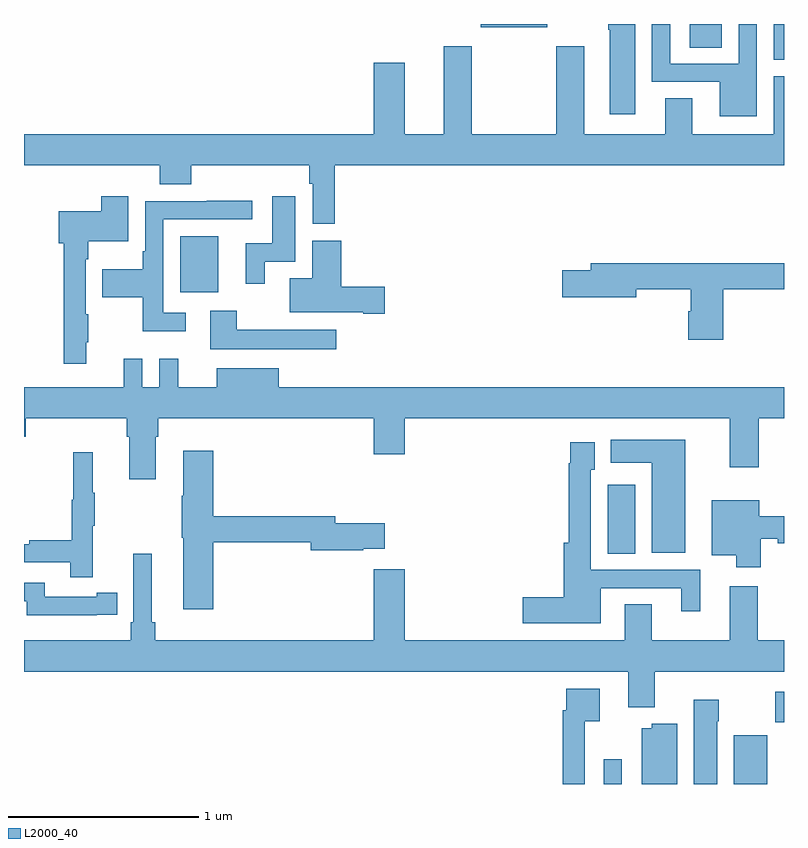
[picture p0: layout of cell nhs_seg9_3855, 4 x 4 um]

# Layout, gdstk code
import gdstk
lib = gdstk.Library(unit=1e-6, precision=1e-09)
def R(c, l, rs):  # rectangles x0, y0, x1, y1
    for r in rs: c.add(gdstk.rectangle(r[:2], r[2:], *l))
def P(c, l, *ps):  # polygons
    for p in ps: c.add(gdstk.Polygon(p, *l))
L2000_40 = (2000, 40)

nhs_seg9_3855 = lib.new_cell('nhs_seg9_3855')
R(nhs_seg9_3855, L2000_40, [(334.05,1190.5,334.146,1190.629), (334.955,1190.826,335,1190.986), (334.073,1191.712,334.216,1192.075), (331.823,1193.087,332.023,1193.383), (334.946,1194.311,335,1194.5), (334.505,1194.376,334.672,1194.5), (333.404,1194.482,333.754,1194.5)])
P(nhs_seg9_3855, L2000_40, [(334.857,1194.5),(334.761,1194.5),(334.761,1194.291),(334.401,1194.291),(334.401,1194.5),(334.305,1194.5),(334.305,1194.195),(334.661,1194.195),(334.661,1194.014),(334.857,1194.014)],
  [(334.216,1194.5),(334.075,1194.5),(334.075,1194.469),(334.082,1194.469),(334.082,1194.024),(334.216,1194.024)],
  [(332.636,1193.756),(335,1193.756),(335,1194.226),(334.946,1194.226),(334.946,1193.92),(334.516,1193.92),(334.516,1194.11),(334.376,1194.11),(334.376,1193.92),(333.949,1193.92),(333.949,1194.382),(333.802,1194.382),(333.802,1193.92),(333.357,1193.92),(333.357,1194.382),(333.209,1194.382),(333.209,1193.92),(333.004,1193.92),(333.004,1194.295),(332.84,1194.295),(332.84,1193.92),(331,1193.92),(331,1193.756),(331.715,1193.756),(331.715,1193.657),(331.88,1193.657),(331.88,1193.756),(332.5,1193.756),(332.5,1193.66),(332.52,1193.66),(332.52,1193.448),(332.636,1193.448)],
  [(332.266,1193.25),(332.428,1193.25),(332.428,1193.593),(332.306,1193.593),(332.306,1193.346),(332.168,1193.346),(332.168,1193.133),(332.266,1193.133)],
  [(331.328,1192.825),(331.339,1192.825),(331.339,1192.973),(331.326,1192.973),(331.326,1193.261),(331.339,1193.261),(331.339,1193.357),(331.549,1193.357),(331.549,1193.593),(331.406,1193.593),(331.406,1193.515),(331.184,1193.515),(331.184,1193.345),(331.21,1193.345),(331.21,1192.713),(331.328,1192.713)],
  [(331.852,1192.98),(331.734,1192.98),(331.734,1193.472),(332.2,1193.472),(332.2,1193.57),(331.963,1193.57),(331.963,1193.568),(331.638,1193.568),(331.638,1193.305),(331.626,1193.305),(331.626,1193.209),(331.411,1193.209),(331.411,1193.062),(331.626,1193.062),(331.626,1192.883),(331.852,1192.883)],
  [(332.899,1193.117),(332.669,1193.117),(332.669,1193.359),(332.516,1193.359),(332.516,1193.161),(332.399,1193.161),(332.399,1192.982),(332.786,1192.982),(332.786,1192.975),(332.899,1192.975)],
  [(334.679,1193.104),(335,1193.104),(335,1193.24),(333.983,1193.24),(333.983,1193.204),(333.834,1193.204),(333.834,1193.062),(334.222,1193.062),(334.222,1193.104),(334.508,1193.104),(334.508,1192.989),(334.496,1192.989),(334.496,1192.839),(334.679,1192.839)],
  [(332.644,1192.891),(332.119,1192.891),(332.119,1192.99),(331.979,1192.99),(331.979,1192.787),(332.644,1192.787)],
  [(331.693,1192.328),(331.706,1192.328),(331.706,1192.424),(332.84,1192.424),(332.84,1192.236),(333.004,1192.236),(333.004,1192.424),(334.715,1192.424),(334.715,1192.167),(334.868,1192.167),(334.868,1192.424),(335,1192.424),(335,1192.588),(332.341,1192.588),(332.341,1192.687),(332.015,1192.687),(332.015,1192.588),(331.811,1192.588),(331.811,1192.738),(331.713,1192.738),(331.713,1192.588),(331.623,1192.588),(331.623,1192.738),(331.526,1192.738),(331.526,1192.588),(331,1192.588),(331,1192.328),(331.01,1192.328),(331.01,1192.424),(331.541,1192.424),(331.541,1192.328),(331.553,1192.328),(331.553,1192.104),(331.693,1192.104)],
  [(334.48,1192.312),(334.088,1192.312),(334.088,1192.19),(334.304,1192.19),(334.304,1191.716),(334.48,1191.716)],
  [(334.036,1191.531),(334.46,1191.531),(334.46,1191.408),(334.558,1191.408),(334.558,1191.627),(333.984,1191.627),(333.984,1192.155),(334.003,1192.155),(334.003,1192.3),(333.876,1192.3),(333.876,1192.187),(333.868,1192.187),(333.868,1191.769),(333.842,1191.769),(333.842,1191.482),(333.624,1191.482),(333.624,1191.347),(334.036,1191.347)],
  [(331.997,1191.772),(332.51,1191.772),(332.51,1191.73),(332.786,1191.73),(332.786,1191.737),(332.899,1191.737),(332.899,1191.872),(332.638,1191.872),(332.638,1191.908),(331.997,1191.908),(331.997,1192.255),(331.838,1192.255),(331.838,1192.016),(331.831,1192.016),(331.831,1191.795),(331.838,1191.795),(331.838,1191.42),(331.997,1191.42)],
  [(331.361,1191.859),(331.372,1191.859),(331.372,1192.033),(331.361,1192.033),(331.361,1192.246),(331.258,1192.246),(331.258,1191.996),(331.251,1191.996),(331.251,1191.782),(331.027,1191.782),(331.027,1191.762),(331,1191.762),(331,1191.666),(331.243,1191.666),(331.243,1191.588),(331.361,1191.588)],
  [(334.878,1191.79),(334.966,1191.79),(334.966,1191.768),(335,1191.768),(335,1191.908),(334.87,1191.908),(334.87,1191.994),(334.619,1191.994),(334.619,1191.704),(334.748,1191.704),(334.748,1191.642),(334.878,1191.642)],
  [(334.181,1190.903),(334.321,1190.903),(334.321,1191.092),(335,1191.092),(335,1191.256),(334.863,1191.256),(334.863,1191.541),(334.715,1191.541),(334.715,1191.256),(334.303,1191.256),(334.303,1191.446),(334.163,1191.446),(334.163,1191.256),(333.004,1191.256),(333.004,1191.631),(332.84,1191.631),(332.84,1191.256),(331.691,1191.256),(331.691,1191.352),(331.672,1191.352),(331.672,1191.712),(331.575,1191.712),(331.575,1191.352),(331.562,1191.352),(331.562,1191.256),(331,1191.256),(331,1191.092),(334.181,1191.092)],
  [(331.382,1191.39),(331.49,1191.39),(331.49,1191.506),(331.382,1191.506),(331.382,1191.486),(331.11,1191.486),(331.11,1191.558),(331,1191.558),(331,1191.462),(331.014,1191.462),(331.014,1191.389),(331.382,1191.389)],
  [(333.951,1190.831),(334.03,1190.831),(334.03,1191.001),(333.855,1191.001),(333.855,1190.888),(333.835,1190.888),(333.835,1190.5),(333.951,1190.5)],
  [(334.648,1190.831),(334.656,1190.831),(334.656,1190.944),(334.526,1190.944),(334.526,1190.5),(334.648,1190.5)],
  [(334.438,1190.818),(334.305,1190.818),(334.305,1190.794),(334.25,1190.794),(334.25,1190.5),(334.438,1190.5)],
  [(334.912,1190.654),(334.911,1190.654),(334.911,1190.757),(334.736,1190.757),(334.736,1190.5),(334.912,1190.5)])

lib.write_gds('nhs_seg9_3855.gds')
